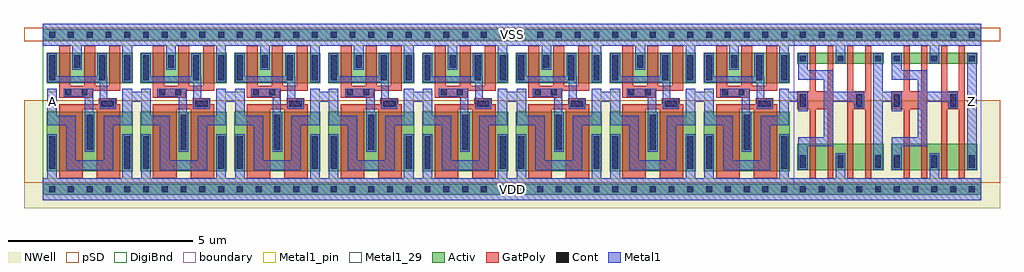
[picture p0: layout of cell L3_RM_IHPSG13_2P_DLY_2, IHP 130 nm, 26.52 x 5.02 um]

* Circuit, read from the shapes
.subckt L3_RM_IHPSG13_2P_DLY_2 A VDD VSS Z
XM1 VSS n1 n2 VSS sg13_lv_nmos w=0.83u l=0.3u m=3
XM2 VSS n3 n4 VSS sg13_lv_nmos w=0.83u l=0.3u m=3
XM3 VSS n5 n6 VSS sg13_lv_nmos w=0.83u l=0.3u m=3
XM4 VSS n7 n8 VSS sg13_lv_nmos w=0.83u l=0.3u m=3
XM5 VSS n9 n10 VSS sg13_lv_nmos w=0.83u l=0.3u m=3
XM6 VSS n11 n12 VSS sg13_lv_nmos w=0.83u l=0.3u m=3
XM7 VSS n13 n14 VSS sg13_lv_nmos w=0.83u l=0.3u m=3
XM8 VSS n15 n16 VSS sg13_lv_nmos w=0.83u l=0.3u m=3
XM9 n17 A n18 VSS sg13_lv_nmos w=0.3u l=0.16u
XM10 VSS A n17 VSS sg13_lv_nmos w=0.3u l=0.16u
XM11 n19 n18 VSS VSS sg13_lv_nmos w=0.3u l=0.16u
XM12 L3_RSC_IHPSG13_CDLYX1_9/A n18 n19 VSS sg13_lv_nmos w=0.3u l=0.16u
XM13 n20 L3_RSC_IHPSG13_CDLYX1_9/A n21 VSS sg13_lv_nmos w=0.3u l=0.16u
XM14 VSS L3_RSC_IHPSG13_CDLYX1_9/A n20 VSS sg13_lv_nmos w=0.3u l=0.16u
XM15 n22 n21 VSS VSS sg13_lv_nmos w=0.3u l=0.16u
XM16 Z n21 n22 VSS sg13_lv_nmos w=0.3u l=0.16u
XM17 n1 n2 VDD VDD sg13_lv_pmos w=1.62u l=0.64u m=2
XM18 n3 n4 VDD VDD sg13_lv_pmos w=1.62u l=0.64u m=2
XM19 n5 n6 VDD VDD sg13_lv_pmos w=1.62u l=0.64u m=2
XM20 n7 n8 VDD VDD sg13_lv_pmos w=1.62u l=0.64u m=2
XM21 n9 n10 VDD VDD sg13_lv_pmos w=1.62u l=0.64u m=2
XM22 n11 n12 VDD VDD sg13_lv_pmos w=1.62u l=0.64u m=2
XM23 n13 n14 VDD VDD sg13_lv_pmos w=1.62u l=0.64u m=2
XM24 n15 n16 VDD VDD sg13_lv_pmos w=1.62u l=0.64u m=2
XM25 n23 A n18 VDD sg13_lv_pmos w=0.72u l=0.16u
XM26 VDD A n23 VDD sg13_lv_pmos w=0.72u l=0.16u
XM27 n24 n18 VDD VDD sg13_lv_pmos w=0.72u l=0.16u
XM28 L3_RSC_IHPSG13_CDLYX1_9/A n18 n24 VDD sg13_lv_pmos w=0.72u l=0.16u
XM29 n25 L3_RSC_IHPSG13_CDLYX1_9/A n21 VDD sg13_lv_pmos w=0.72u l=0.16u
XM30 VDD L3_RSC_IHPSG13_CDLYX1_9/A n25 VDD sg13_lv_pmos w=0.72u l=0.16u
XM31 n26 n21 VDD VDD sg13_lv_pmos w=0.72u l=0.16u
XM32 Z n21 n26 VDD sg13_lv_pmos w=0.72u l=0.16u
.ends

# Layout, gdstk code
from math import pi, radians
import gdstk
lib = gdstk.Library(unit=1e-6, precision=1e-09)
def R(c, l, rs):  # rectangles x0, y0, x1, y1
    for r in rs: c.add(gdstk.rectangle(r[:2], r[2:], *l))
def A(c, l, x, y, w, h, nx, ny, dx, dy):  # array of equal rectangles
    R(c, l, [(x+i*dx, y+j*dy, x+i*dx+w, y+j*dy+h) for i in range(nx) for j in range(ny)])
def P(c, l, *ps):  # polygons
    for p in ps: c.add(gdstk.Polygon(p, *l))
Activ = (1, 0)
GatPoly = (5, 0)
Cont = (6, 0)
Metal1 = (8, 0)
Metal1_pin = (8, 2)
Metal1_29 = (8, 29)
pSD = (14, 0)
DigiBnd = (16, 0)
NWell = (31, 0)
boundary = (189, 4)

l3_lvsres_db_0x04007e9a = lib.new_cell('L3_lvsres_db_0x04007e9a')
R(l3_lvsres_db_0x04007e9a, Metal1, [(-0.5,0,0.5,0.26)])
R(l3_lvsres_db_0x04007e9a, Metal1_pin, [(-0.5,0,-0.3,0.26), (0.3,0,0.5,0.26)])
R(l3_lvsres_db_0x04007e9a, Metal1_29, [(-0.3,0,0.3,0.26)])
l3_lvsres_db_0x04007e9a.add(gdstk.Label('PLUS', (-0.4,0.13), layer=63, texttype=0))
l3_lvsres_db_0x04007e9a.add(gdstk.Label('MINUS', (0.4,0.13), layer=63, texttype=0))

l3_rsc_ihpsg13_cdlyx1_du = lib.new_cell('L3_RSC_IHPSG13_CDLYX1_DUMMY')
R(l3_rsc_ihpsg13_cdlyx1_du, Activ, [(0,-0.15,2.55,0.15), (0.105,0.49,2.445,1.32), (0.105,2.1,2.445,3.72), (0,4.05,2.55,4.35)])
P(l3_rsc_ihpsg13_cdlyx1_du, GatPoly, [(1.525,1.73),(1.525,1.9),(0.445,1.9),(0.445,3.9),(1.085,3.9),(1.085,2.03),(1.465,2.03),(1.465,3.9),(2.105,3.9),(2.105,1.9),(2.005,1.9),(2.005,1.73)],
  [(0.445,0.3),(0.445,1.72),(1.34,1.72),(1.34,1.52),(2.105,1.52),(2.105,0.3),(1.805,0.3),(1.805,1.39),(1.425,1.39),(1.425,0.3),(1.125,0.3),(1.125,1.39),(0.745,1.39),(0.745,0.3)])
A(l3_rsc_ihpsg13_cdlyx1_du, Cont, 0.175, -0.08, 0.16, 0.16, 5, 2, 0.51, 4.2)
R(l3_rsc_ihpsg13_cdlyx1_du, Cont, [(0.175,0.56,0.335,1.24), (0.855,0.56,1.015,0.9), (1.535,0.56,1.695,1.24), (2.215,0.56,2.375,1.24), (0.615,1.49,0.775,1.65), (1.055,1.49,1.215,1.65), (1.595,1.8,1.935,1.96), (1.195,2.175,1.355,3.13), (0.175,2.76,0.335,3.65), (2.215,2.76,2.375,3.65)])
R(l3_rsc_ihpsg13_cdlyx1_du, Metal1, [(0.125,1.47,0.385,2.465), (2.165,1.47,2.425,2.465), (0.125,2.205,0.895,2.465), (0.635,2.205,0.895,3.68), (1.655,2.205,2.425,2.465), (1.655,2.205,1.915,3.68), (0.635,3.42,1.915,3.68)])
P(l3_rsc_ihpsg13_cdlyx1_du, Metal1, [(0,-0.3),(0,0.3),(0.805,0.3),(0.805,0.95),(1.065,0.95),(1.065,0.3),(2.165,0.3),(2.165,1.29),(2.425,1.29),(2.425,0.3),(2.55,0.3),(2.55,-0.3)],
  [(0.125,2.71),(0.125,3.9),(0,3.9),(0,4.5),(2.55,4.5),(2.55,3.9),(2.425,3.9),(2.425,2.71),(2.165,2.71),(2.165,3.9),(0.385,3.9),(0.385,2.71)],
  [(0.565,1.47),(0.565,1.69),(1.145,1.69),(1.145,3.18),(1.405,3.18),(1.405,2.125),(1.365,2.125),(1.365,1.47)],
  [(0.125,0.51),(0.125,1.29),(1.545,1.29),(1.545,2.01),(1.985,2.01),(1.985,1.75),(1.755,1.75),(1.755,1.13),(1.745,1.13),(1.745,0.51),(1.485,0.51),(1.485,1.13),(0.385,1.13),(0.385,0.51)])
R(l3_rsc_ihpsg13_cdlyx1_du, Metal1_pin, [(0,-0.3,2.55,0.3), (2.165,1.47,2.425,2.465), (0.125,1.56,0.385,2.09), (0,3.9,2.55,4.5)])
R(l3_rsc_ihpsg13_cdlyx1_du, pSD, [(-0.51,-0.18,3.06,0.18), (-0.51,1.785,3.06,4.02)])
R(l3_rsc_ihpsg13_cdlyx1_du, DigiBnd, [(0,-0.3,2.55,4.5)])
R(l3_rsc_ihpsg13_cdlyx1_du, NWell, [(-0.51,1.785,3.06,4.725)])
l3_rsc_ihpsg13_cdlyx1_du.add(gdstk.Reference(l3_lvsres_db_0x04007e9a, (1.305,3.68), rotation=pi))
l3_rsc_ihpsg13_cdlyx1_du.add(gdstk.Label('VSS!', (1.155,0.005), layer=8, texttype=2))
l3_rsc_ihpsg13_cdlyx1_du.add(gdstk.Label('VDD!', (0.84,4.2), layer=8, texttype=2))
l3_rsc_ihpsg13_cdlyx1_du.add(gdstk.Label('Z', (2.3,1.755), layer=8, texttype=25))
l3_rsc_ihpsg13_cdlyx1_du.add(gdstk.Label('A', (0.265,1.785), layer=8, texttype=25))

l3_rsc_ihpsg13_cdlyx1 = lib.new_cell('L3_RSC_IHPSG13_CDLYX1')
R(l3_rsc_ihpsg13_cdlyx1, Activ, [(0,-0.15,2.55,0.15), (0.105,0.49,2.445,0.79), (0.105,2.97,2.445,3.69), (0,4.05,2.55,4.35)])
P(l3_rsc_ihpsg13_cdlyx1, GatPoly, [(0.445,0.3),(0.445,1.545),(0.105,1.545),(0.105,2.025),(0.445,2.025),(0.445,3.9),(0.605,3.9),(0.605,2.025),(0.925,2.025),(0.925,3.9),(1.085,3.9),(1.085,0.3),(0.925,0.3),(0.925,1.545),(0.605,1.545),(0.605,0.3)],
  [(1.465,0.3),(1.465,3.9),(1.625,3.9),(1.625,2.025),(1.945,2.025),(1.945,3.9),(2.105,3.9),(2.105,0.3),(1.945,0.3),(1.945,1.545),(1.625,1.545),(1.625,0.3)])
A(l3_rsc_ihpsg13_cdlyx1, Cont, 0.175, -0.08, 0.16, 0.16, 5, 2, 0.51, 4.2)
A(l3_rsc_ihpsg13_cdlyx1, Cont, 0.175, 0.57, 0.16, 0.16, 3, 1, 1.02, 0)
A(l3_rsc_ihpsg13_cdlyx1, Cont, 0.175, 3.28, 0.16, 0.34, 3, 1, 1.02, 0)
R(l3_rsc_ihpsg13_cdlyx1, Cont, [(0.175,1.615,0.335,1.955), (1.705,1.615,1.865,1.955)])
R(l3_rsc_ihpsg13_cdlyx1, Metal1, [(0,-0.3,2.55,0.3), (1.145,0.3,1.405,0.78), (2.165,0.51,2.425,3.67), (0.125,1.56,0.385,2.09)])
P(l3_rsc_ihpsg13_cdlyx1, Metal1, [(1.145,3.23),(1.145,3.9),(0,3.9),(0,4.5),(2.55,4.5),(2.55,3.9),(1.405,3.9),(1.405,3.23)],
  [(0.125,0.51),(0.125,1.23),(0.825,1.23),(0.825,2.79),(0.125,2.79),(0.125,3.67),(0.385,3.67),(0.385,3.04),(1.085,3.04),(1.085,1.82),(1.655,1.82),(1.655,2.005),(1.915,2.005),(1.915,1.56),(1.085,1.56),(1.085,0.97),(0.385,0.97),(0.385,0.51)])
R(l3_rsc_ihpsg13_cdlyx1, Metal1_pin, [(0,-0.3,2.55,0.3), (2.165,0.51,2.425,3.67), (0.125,1.56,0.385,2.09), (0,3.9,2.55,4.5)])
R(l3_rsc_ihpsg13_cdlyx1, pSD, [(-0.51,-0.18,3.06,0.18), (-0.51,1.785,3.06,4.02)])
R(l3_rsc_ihpsg13_cdlyx1, DigiBnd, [(0,-0.3,2.55,4.5)])
R(l3_rsc_ihpsg13_cdlyx1, NWell, [(-0.51,1.785,3.06,4.725)])
R(l3_rsc_ihpsg13_cdlyx1, boundary, [(0,0,2.55,4.2)])
l3_rsc_ihpsg13_cdlyx1.add(gdstk.Label('Z', (2.3,1.755), layer=8, texttype=25))
l3_rsc_ihpsg13_cdlyx1.add(gdstk.Label('VSS!', (0.465,0), layer=8, texttype=25))
l3_rsc_ihpsg13_cdlyx1.add(gdstk.Label('A', (0.265,1.785), layer=8, texttype=25))
l3_rsc_ihpsg13_cdlyx1.add(gdstk.Label('VDD!', (0.51,4.2), layer=8, texttype=25))

l3_rm_ihpsg13_2p_dly_2 = lib.new_cell('L3_RM_IHPSG13_2P_DLY_2')
A(l3_rm_ihpsg13_2p_dly_2, Metal1, 2.425, 2.38, 0.25, 0.26, 9, 1, 2.55, 0)
R(l3_rm_ihpsg13_2p_dly_2, Metal1_pin, [(0,-0.3,25.5,0.3), (0.125,2.11,0.385,2.64), (25.115,2.11,25.375,2.64), (0,3.9,25.5,4.5)])
l3_rm_ihpsg13_2p_dly_2.add(gdstk.Reference(l3_rsc_ihpsg13_cdlyx1_du, (0,4.2), x_reflection=True))
l3_rm_ihpsg13_2p_dly_2.add(gdstk.Reference(l3_rsc_ihpsg13_cdlyx1_du, (2.55,4.2), x_reflection=True))
l3_rm_ihpsg13_2p_dly_2.add(gdstk.Reference(l3_rsc_ihpsg13_cdlyx1_du, (5.1,4.2), x_reflection=True))
l3_rm_ihpsg13_2p_dly_2.add(gdstk.Reference(l3_rsc_ihpsg13_cdlyx1_du, (7.65,4.2), x_reflection=True))
l3_rm_ihpsg13_2p_dly_2.add(gdstk.Reference(l3_rsc_ihpsg13_cdlyx1_du, (10.2,4.2), x_reflection=True))
l3_rm_ihpsg13_2p_dly_2.add(gdstk.Reference(l3_rsc_ihpsg13_cdlyx1_du, (12.75,4.2), x_reflection=True))
l3_rm_ihpsg13_2p_dly_2.add(gdstk.Reference(l3_rsc_ihpsg13_cdlyx1_du, (15.3,4.2), x_reflection=True))
l3_rm_ihpsg13_2p_dly_2.add(gdstk.Reference(l3_rsc_ihpsg13_cdlyx1_du, (17.85,4.2), x_reflection=True))
l3_rm_ihpsg13_2p_dly_2.add(gdstk.Reference(l3_rsc_ihpsg13_cdlyx1, (20.4,4.2), x_reflection=True))
l3_rm_ihpsg13_2p_dly_2.add(gdstk.Reference(l3_rsc_ihpsg13_cdlyx1, (22.95,4.2), x_reflection=True))
l3_rm_ihpsg13_2p_dly_2.add(gdstk.Label('Z', (25.245,2.375), layer=8, texttype=25))
l3_rm_ihpsg13_2p_dly_2.add(gdstk.Label('A', (0.255,2.375), layer=8, texttype=25))
l3_rm_ihpsg13_2p_dly_2.add(gdstk.Label('VSS', (12.75,4.2), layer=8, texttype=25))
l3_rm_ihpsg13_2p_dly_2.add(gdstk.Label('VDD', (12.75,0), layer=8, texttype=25))

lib.write_gds('L3_RM_IHPSG13_2P_DLY_2.gds')
